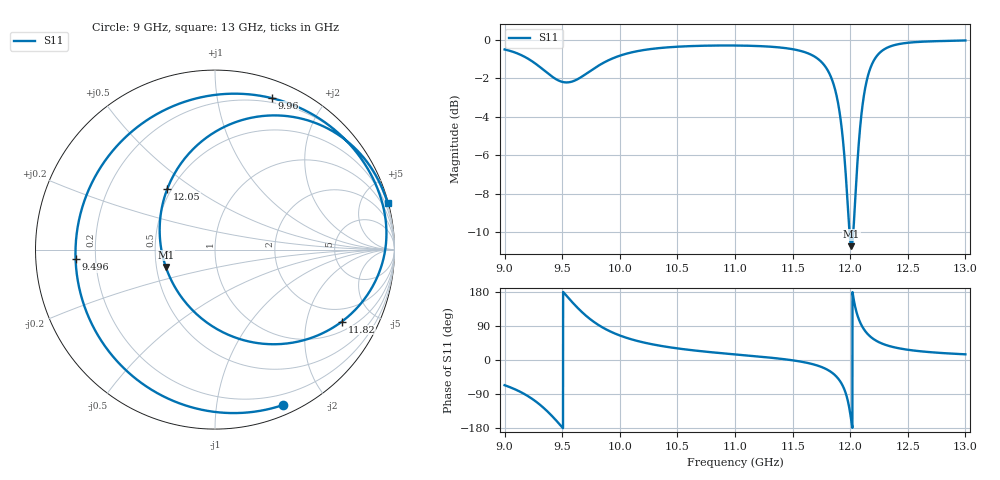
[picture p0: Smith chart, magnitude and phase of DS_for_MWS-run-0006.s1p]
! TOUCHSTONE file generated by CST DESIGN STUDIO
! Date and time: Tue Feb  4 17:29:47 2025
! Project name: C:\Work\MatlabApps\UnitCellOptimizationMatlab\CST\unitcell.cst
! Tree item: Tasks\Sweep1\SPara1\S-Parameters
! Header version: 2024
! Port assignment regex: !\s*Touchstone port\s*([0-9]+)\s*=\s*(CST MWS port|CST DES external port|CST DES block port)\s*(.+)\s* \(\"(.*)\"\)(\s*mode\s*([0-9]+))?.*
! Touchstone port assignment:
! Touchstone port 1 = CST DES external port 1 ("")
# GHz S MA R 50
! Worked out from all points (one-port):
!   4001 points, 9 GHz to 13 GHz, reference 50 ohm
!   lowest |S11| = -10.7 dB at 12.01 GHz (marker M1), VSWR 1.82, Z = 28 - j5.9 ohm
!   |S11| at or under -10 dB: 11.99389 GHz to 12.02668 GHz (32.79 MHz wide, 0.273 % of centre)
!   S11 on the Smith chart (normalised r, x): 9 GHz: 0.09, -1.52; 9.496 GHz: 0.12, -0.03; 9.96 GHz: 0.16, +1.43; 11.82 GHz: 1.37, -3.25; 12.05 GHz: 0.47, +0.39; 13 GHz: 0.08, +7.60
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9  0.9449 -66.5
9.161  0.9084 -88.0
9.276  0.8643 -110.6
9.378  0.8174 -137.5
9.496  0.7787 -176.1
9.5  0.7781 -177.5
9.592  0.7806 151.0
9.713  0.8185 115.2
9.821  0.8596 91.2
9.96  0.9011 69.6
10  0.9102 64.7
10.215  0.9423 45.7
10.5  0.9605 30.6
11  0.9674 14.7
11.5  0.9464 -0.8
11.703  0.9006 -13.4
11.824  0.8126 -29.6
11.933  0.5646 -66.7
11.967  0.422 -93.2
12  0.3013 -140.7
12.01  0.2907 -160.6
12.053  0.4302 128.2
12.087  0.5959 98.8
12.123  0.7292 79.4
12.233  0.9102 49.6
12.34  0.9603 36.8
12.5  0.9834 27.0
13  0.9972 15.0
